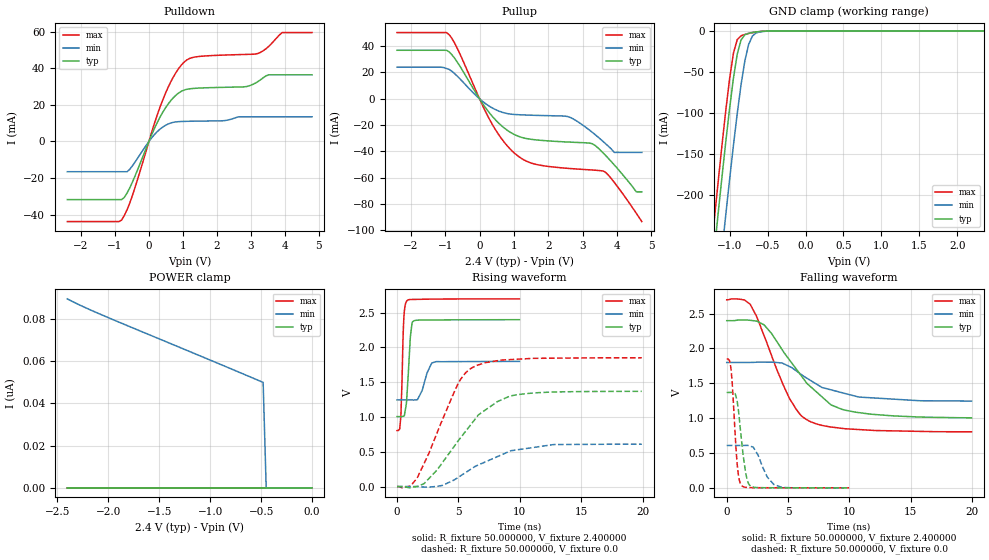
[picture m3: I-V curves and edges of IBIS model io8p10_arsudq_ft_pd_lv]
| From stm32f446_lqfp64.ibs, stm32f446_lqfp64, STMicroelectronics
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|   Model io8p10_arsudq_ft_pd_lv
[Model]  io8p10_arsudq_ft_pd_lv
Model_type I/O
Polarity   Non-Inverting
Enable   Active-Low
Vinl =   0.720000V
Vinh =   1.680000V
Vmeas =  1.200000V
Cref =   40.000000pF
Rref =   100.000000M
Vref =   0.0V
C_comp   2.239000pF   2.178700pF   2.334000pF
[Temperature Range]   25.000000   0.125000k   -40.000000
[Pullup Reference]   2.400000V   1.800000V   2.700000V
[Pulldown Reference]   0.0V   0.0V   0.0V
[POWER Clamp Reference]   2.400000V   1.800000V   2.700000V
[GND Clamp Reference]   0.0V   0.0V   0.0V
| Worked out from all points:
|   slope of the pulldown table from 0 to 0.36 V, typ, clamps not added: 25 ohm
|   slope of the pullup table from 0 to 0.36 V, typ, clamps not added: 27.7 ohm
|   GND clamp passes 1 mA (typ) near -0.62 V on its own axis
|   rising waveform, R_fixture 50.000000, V_fixture 2.400000: 20-80 % time 277ps typ, 617ps min, 183ps max; typ from 1 V to 2.4 V
|   rising waveform, R_fixture 50.000000, V_fixture 0.0: 20-80 % time 3.74ns typ, 4.02ns min, 2.67ns max; typ from 0 V to 1.37 V
|   falling waveform, R_fixture 50.000000, V_fixture 2.400000: 20-80 % time 3.89ns typ, 4ns min, 2.72ns max; typ from 2.4 V to 1 V
|   falling waveform, R_fixture 50.000000, V_fixture 0.0: 20-80 % time 528ps typ, 976ps min, 382ps max; typ from 1.37 V to 0 V
[Pulldown]
|Voltage   I(typ)   I(min)   I(max)
-2.4V     -31.73mA   -16.51mA   -43.74mA
-800mV    -31.73mA   -16.51mA   -42.87mA
-480mV    -21.98mA   -13.17mA   -29.2mA
80mV      3.63mA     1.966mA    5.014mA
480mV     18.15mA    8.738mA    26.02mA
800mV     25.38mA    10.72mA    37.77mA
1.12V     28.53mA    11.02mA    44.6mA
2.8V      29.84mA    13.49mA    47.53mA
3.2V      32.65mA    13.49mA    48.04mA
3.52V     36.42mA    13.49mA    51.83mA
3.92V     36.42mA    13.49mA    59.49mA
4.8V      36.42mA    13.49mA    59.49mA
[Pullup]
|Voltage   I(typ)   I(min)   I(max)
-2.4V     36.91mA    24.03mA    50.37mA
-960mV    36.91mA    23.05mA    50.37mA
-640mV    27.65mA    17.03mA    37.99mA
320mV     -11.75mA   -6.207mA   -17.08mA
960mV     -26.47mA   -11.82mA   -40.02mA
1.52V     -30.88mA   -12.51mA   -49.05mA
2.56V     -32.88mA   -13.48mA   -52.9mA
3.28V     -34.19mA   -25.52mA   -54.18mA
3.6V      -41.31mA   -32.62mA   -54.97mA
3.92V     -50.32mA   -40.8mA    -63.63mA
4.56V     -70.8mA    -40.8mA    -87.08mA
4.72V     -70.8mA    -40.8mA    -93.4mA
[GND_clamp]
|Voltage   I(typ)   I(min)   I(max)
-2.4V     -1.424A    -1.508A    -1.393A
-1.25V    -311.2mA   -401.9mA   -273.3mA
-1.2V     -265.4mA   -356.1mA   -227.2mA
-1.15V    -220.4mA   -310.8mA   -181.9mA
-1.1V     -176.3mA   -266.2mA   -137.9mA
-1.05V    -133.8mA   -222.5mA   -95.87mA
-950mV    -57.3mA    -138.9mA   -26.99mA
-900mV    -28.28mA   -100.4mA   -10.6mA
-850mV    -11.02mA   -65.54mA   -5.972mA
-750mV    -2.846mA   -16.51mA   -3.192mA
-600mV    -761.3uA   -1.173mA   -751.9uA
2.35V     58.09uA    37.92uA    67.25uA
[POWER_clamp]
|Voltage   I(typ)   I(min)   I(max)
-2.4V     0A         89.62nA    0A
-2.04V    0A         81.57nA    0A
-480mV    0A         50.01nA    0A
-450mV    0A         0A         0A
0V        0A         0A         0A
[Ramp]
| variable   typ   min   max
dV/dt_r  0.82146/3.73951n   0.36560/4.02298n   1.11330/2.67421n
dV/dt_f  0.83346/3.89472n   0.33288/4.07556n   1.13629/2.72402n
R_load = 50.000000
[Rising Waveform]
R_fixture= 50.000000
V_fixture= 2.400000
V_fixture_min= 1.800000
V_fixture_max= 2.700000
|time   V(typ)   V(min)   V(max)
0s        1.005V     1.245V     804.2mV
220.2ps   1.005V     1.245V     830.8mV
300.3ps   1.005V     1.245V     989.3mV
560.6ps   1.014V     1.246V     2.438V
820.8ps   1.346V     1.246V     2.673V
1.081ns   2.138V     1.245V     2.689V
1.341ns   2.38V      1.244V     2.69V
2.042ns   2.393V     1.379V     2.693V
2.843ns   2.395V     1.777V     2.695V
9.97ns    2.399V     1.799V     2.698V
[Rising Waveform]
R_fixture= 50.000000
V_fixture= 0.0
V_fixture_min= 0.0
V_fixture_max= 0.0
|time   V(typ)   V(min)   V(max)
0s        168.8uV    66.4uV     586uV
1.121ns   -14.77mV   125.1uV    12.42mV
1.642ns   539.4uV    -516.2uV   122.2mV
3.283ns   242.6mV    2.475mV    780mV
5.005ns   662.7mV    134.6mV    1.49V
6.206ns   934.1mV    271.2mV    1.717V
8.168ns   1.22V      429.5mV    1.809V
9.57ns    1.313V     522.2mV    1.829V
12.77ns   1.358V     603.5mV    1.846V
19.94ns   1.369V     608.4mV    1.85V
[Falling Waveform]
R_fixture= 50.000000
V_fixture= 2.400000
V_fixture_min= 1.800000
V_fixture_max= 2.700000
|time   V(typ)   V(min)   V(max)
0s        2.399V     1.799V     2.698V
1.441ns   2.408V     1.799V     2.696V
1.922ns   2.404V     1.8V       2.631V
3.043ns   2.339V     1.804V     2.184V
5.085ns   1.842V     1.743V     1.291V
6.006ns   1.624V     1.635V     1.047V
6.727ns   1.468V     1.552V     957.7mV
8.488ns   1.191V     1.407V     872.9mV
9.77ns    1.11V      1.348V     847mV
19.94ns   1.005V     1.245V     804.2mV
[Falling Waveform]
R_fixture= 50.000000
V_fixture= 0.0
V_fixture_min= 0.0
V_fixture_max= 0.0
|time   V(typ)   V(min)   V(max)
0s        1.369V     608.4mV    1.85V
340.3ps   1.369V     608.4mV    1.719V
440.4ps   1.369V     608.4mV    1.521V
700.7ps   1.345V     608.3mV    727mV
940.9ps   1.126V     608.1mV    197mV
1.241ns   623.6mV    607.9mV    30.66mV
1.682ns   104.4mV    609.6mV    4.924mV
2.042ns   16.68mV    590.8mV    2.861mV
3.844ns   1.254mV    48.1mV     1.416mV
9.97ns    168.8uV    66.4uV     586uV
